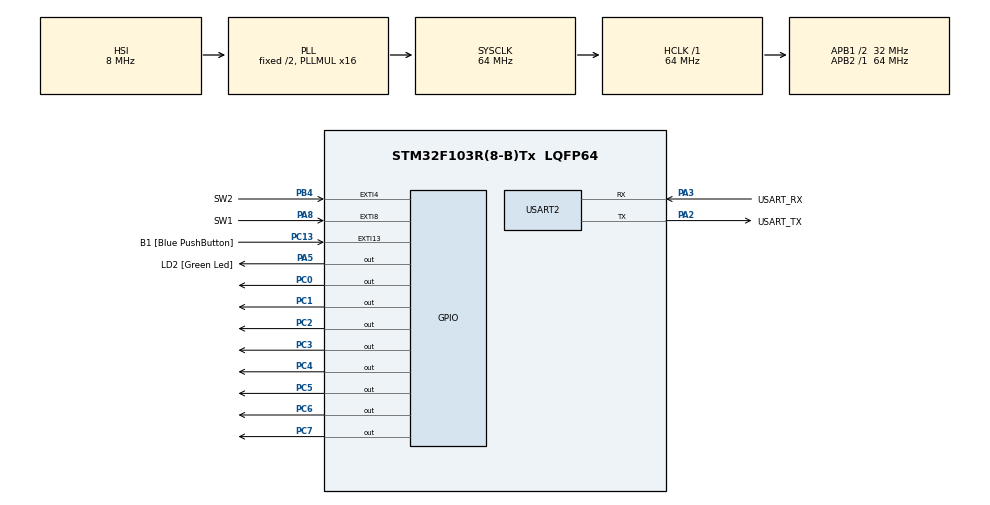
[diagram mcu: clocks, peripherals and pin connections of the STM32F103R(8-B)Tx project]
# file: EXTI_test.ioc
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Mcu.Family=STM32F1
Mcu.Name=STM32F103R(8-B)Tx
Mcu.Package=LQFP64
NVIC.EXTI15_10_IRQn=true\:0\:0\:false\:false\:true\:true\:true\:true
NVIC.EXTI4_IRQn=true\:0\:0\:false\:false\:true\:true\:true\:true
NVIC.EXTI9_5_IRQn=true\:0\:0\:false\:false\:true\:true\:true\:true
NVIC.PriorityGroup=NVIC_PRIORITYGROUP_4
PA13.GPIO_Label=TMS
PA13.Mode=Serial_Wire
PA13.Signal=SYS_JTMS-SWDIO
PA14.GPIO_Label=TCK
PA14.Mode=Serial_Wire
PA14.Signal=SYS_JTCK-SWCLK
PA2.GPIO_Label=USART_TX
PA2.GPIO_Mode=GPIO_MODE_AF_PP
PA2.GPIO_PuPd=GPIO_NOPULL
PA2.GPIO_Speed=GPIO_SPEED_FREQ_LOW
PA2.Mode=Asynchronous
PA2.Signal=USART2_TX
PA3.GPIO_Label=USART_RX
PA3.GPIO_Mode=GPIO_MODE_AF_PP
PA3.GPIO_PuPd=GPIO_NOPULL
PA3.GPIO_Speed=GPIO_SPEED_FREQ_LOW
PA3.Mode=Asynchronous
PA3.Signal=USART2_RX
PA5.GPIO_Label=LD2 [Green Led]
PA5.GPIO_ModeDefaultOutputPP=GPIO_MODE_OUTPUT_PP
PA5.GPIO_PuPd=GPIO_NOPULL
PA5.GPIO_Speed=GPIO_SPEED_FREQ_LOW
PA5.Signal=GPIO_Output
PA8.GPIO_Label=SW1
PA8.GPIO_ModeDefaultEXTI=GPIO_MODE_IT_FALLING
PA8.Signal=GPXTI8
PB3.GPIO_Label=SWO
PB3.Signal=SYS_JTDO-TRACESWO
PB4.GPIO_Label=SW2
PB4.GPIO_ModeDefaultEXTI=GPIO_MODE_IT_FALLING
PB4.Signal=GPXTI4
PC0.GPIO_Speed=GPIO_SPEED_FREQ_HIGH
PC0.Signal=GPIO_Output
PC1.GPIO_Speed=GPIO_SPEED_FREQ_HIGH
PC1.Signal=GPIO_Output
PC13-TAMPER-RTC.GPIO_Label=B1 [Blue PushButton]
PC13-TAMPER-RTC.GPIO_PuPd=GPIO_NOPULL
PC13-TAMPER-RTC.Signal=GPXTI13
PC14-OSC32_IN.Mode=LSE-External-Oscillator
PC14-OSC32_IN.Signal=RCC_OSC32_IN
PC15-OSC32_OUT.Mode=LSE-External-Oscillator
PC15-OSC32_OUT.Signal=RCC_OSC32_OUT
PC2.GPIO_Speed=GPIO_SPEED_FREQ_HIGH
PC2.Signal=GPIO_Output
PC3.GPIO_Speed=GPIO_SPEED_FREQ_HIGH
PC3.Signal=GPIO_Output
PC4.GPIO_Speed=GPIO_SPEED_FREQ_HIGH
PC4.Signal=GPIO_Output
PC5.GPIO_Speed=GPIO_SPEED_FREQ_HIGH
PC5.Signal=GPIO_Output
PC6.GPIO_Speed=GPIO_SPEED_FREQ_HIGH
PC6.Signal=GPIO_Output
PC7.GPIO_Speed=GPIO_SPEED_FREQ_HIGH
PC7.Signal=GPIO_Output
PD0-OSC_IN.Mode=HSE-External-Clock-Source
PD0-OSC_IN.Signal=RCC_OSC_IN
PD1-OSC_OUT.Mode=HSE-External-Clock-Source
PD1-OSC_OUT.Signal=RCC_OSC_OUT
ProjectManager.HeapSize=0x200
ProjectManager.StackSize=0x400
ProjectManager.TargetToolchain=STM32CubeIDE
RCC.AHBFreq_Value=64000000
RCC.APB1CLKDivider=RCC_HCLK_DIV2
RCC.APB1Freq_Value=32000000
RCC.APB1TimFreq_Value=64000000
RCC.APB2Freq_Value=64000000
RCC.APB2TimFreq_Value=64000000
RCC.HCLKFreq_Value=64000000
RCC.PLLMUL=RCC_PLL_MUL16
RCC.RTCClockSelection=RCC_RTCCLKSOURCE_LSE
RCC.SYSCLKFreq_VALUE=64000000
RCC.SYSCLKSource=RCC_SYSCLKSOURCE_PLLCLK
RCC.USBFreq_Value=64000000
USART2.VirtualMode=VM_ASYNC
board=NUCLEO-F103RB

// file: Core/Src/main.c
/* USER CODE BEGIN Header */
/**
  ******************************************************************************
  * @file           : main.c
  * @brief          : Main program body
  ******************************************************************************
  * @attention
  *
  * Copyright (c) 2022 STMicroelectronics.
  * All rights reserved.
  *
  * This software is licensed under terms that can be found in the LICENSE file
  * in the root directory of this software component.
  * If no LICENSE file comes with this software, it is provided AS-IS.
  *
  ******************************************************************************
  */
/* USER CODE END Header */
#include "main.h"

 UART_HandleTypeDef huart2;

/* USER CODE BEGIN PV */
uint16_t flag_SW1 = 0;
uint16_t flag_SW2 = 0;
uint16_t led = 1;
/* USER CODE END PV */

void SystemClock_Config(void);
static void MX_GPIO_Init(void);
static void MX_USART2_UART_Init(void);

int main(void)
{

  /* MCU Configuration--------------------------------------------------------*/

  /* Reset of all peripherals, Initializes the Flash interface and the Systick. */
  HAL_Init();

  /* Configure the system clock */
  SystemClock_Config();

  /* Initialize all configured peripherals */
  MX_GPIO_Init();
  MX_USART2_UART_Init();

  /* Infinite loop */
  while (1)
  {

    /* USER CODE BEGIN 3 */
	  if(flag_SW1){

			  GPIOC->BSRR = led;
			  HAL_Delay(100);
			  GPIOC->BRR = led;
			  HAL_Delay(100);
			  led<<=1;
			  if(led > 0x80){
				  led = 0x01;
			  }
		  }
	  if(flag_SW2){
			  GPIOC->BSRR = led;
			  HAL_Delay(100);
			  GPIOC->BRR = led;
			  HAL_Delay(100);
			  led>>=1;
		  	  if(led < 0x01){
		  		 led = 0x80;
				}
		  }
  }
  /* USER CODE END 3 */
}

void SystemClock_Config(void)
{
  RCC_OscInitTypeDef RCC_OscInitStruct = {0};
  RCC_ClkInitTypeDef RCC_ClkInitStruct = {0};

  /** Initializes the RCC Oscillators according to the specified parameters
  * in the RCC_OscInitTypeDef structure.
  */
  RCC_OscInitStruct.OscillatorType = RCC_OSCILLATORTYPE_HSI;
  RCC_OscInitStruct.HSIState = RCC_HSI_ON;
  RCC_OscInitStruct.HSICalibrationValue = RCC_HSICALIBRATION_DEFAULT;
  RCC_OscInitStruct.PLL.PLLState = RCC_PLL_ON;
  RCC_OscInitStruct.PLL.PLLSource = RCC_PLLSOURCE_HSI_DIV2;
  RCC_OscInitStruct.PLL.PLLMUL = RCC_PLL_MUL16;
  if (HAL_RCC_OscConfig(&RCC_OscInitStruct) != HAL_OK)
  {
    Error_Handler();
  }

  /** Initializes the CPU, AHB and APB buses clocks
  */
  RCC_ClkInitStruct.ClockType = RCC_CLOCKTYPE_HCLK|RCC_CLOCKTYPE_SYSCLK
                              |RCC_CLOCKTYPE_PCLK1|RCC_CLOCKTYPE_PCLK2;
  RCC_ClkInitStruct.SYSCLKSource = RCC_SYSCLKSOURCE_PLLCLK;
  RCC_ClkInitStruct.AHBCLKDivider = RCC_SYSCLK_DIV1;
  RCC_ClkInitStruct.APB1CLKDivider = RCC_HCLK_DIV2;
  RCC_ClkInitStruct.APB2CLKDivider = RCC_HCLK_DIV1;

  if (HAL_RCC_ClockConfig(&RCC_ClkInitStruct, FLASH_LATENCY_2) != HAL_OK)
  {
    Error_Handler();
  }
}

static void MX_USART2_UART_Init(void)
{

  huart2.Instance = USART2;
  huart2.Init.BaudRate = 115200;
  huart2.Init.WordLength = UART_WORDLENGTH_8B;
  huart2.Init.StopBits = UART_STOPBITS_1;
  huart2.Init.Parity = UART_PARITY_NONE;
  huart2.Init.Mode = UART_MODE_TX_RX;
  huart2.Init.HwFlowCtl = UART_HWCONTROL_NONE;
  huart2.Init.OverSampling = UART_OVERSAMPLING_16;
  if (HAL_UART_Init(&huart2) != HAL_OK)
  {
    Error_Handler();
  }

}

static void MX_GPIO_Init(void)
{
  GPIO_InitTypeDef GPIO_InitStruct = {0};

  /* GPIO Ports Clock Enable */
  __HAL_RCC_GPIOC_CLK_ENABLE();
  __HAL_RCC_GPIOD_CLK_ENABLE();
  __HAL_RCC_GPIOA_CLK_ENABLE();
  __HAL_RCC_GPIOB_CLK_ENABLE();

  /*Configure GPIO pin Output Level */
  HAL_GPIO_WritePin(GPIOC, GPIO_PIN_0|GPIO_PIN_1|GPIO_PIN_2|GPIO_PIN_3
                          |GPIO_PIN_4|GPIO_PIN_5|GPIO_PIN_6|GPIO_PIN_7, GPIO_PIN_RESET);

  /*Configure GPIO pin Output Level */
  HAL_GPIO_WritePin(LD2_GPIO_Port, LD2_Pin, GPIO_PIN_RESET);

  /*Configure GPIO pin : B1_Pin */
  GPIO_InitStruct.Pin = B1_Pin;
  GPIO_InitStruct.Mode = GPIO_MODE_IT_RISING;
  GPIO_InitStruct.Pull = GPIO_NOPULL;
  HAL_GPIO_Init(B1_GPIO_Port, &GPIO_InitStruct);

  /*Configure GPIO pins : PC0 PC1 PC2 PC3
                           PC4 PC5 PC6 PC7 */
  GPIO_InitStruct.Pin = GPIO_PIN_0|GPIO_PIN_1|GPIO_PIN_2|GPIO_PIN_3
                          |GPIO_PIN_4|GPIO_PIN_5|GPIO_PIN_6|GPIO_PIN_7;
  GPIO_InitStruct.Mode = GPIO_MODE_OUTPUT_PP;
  GPIO_InitStruct.Pull = GPIO_NOPULL;
  GPIO_InitStruct.Speed = GPIO_SPEED_FREQ_HIGH;
  HAL_GPIO_Init(GPIOC, &GPIO_InitStruct);

  /*Configure GPIO pin : LD2_Pin */
  GPIO_InitStruct.Pin = LD2_Pin;
  GPIO_InitStruct.Mode = GPIO_MODE_OUTPUT_PP;
  GPIO_InitStruct.Pull = GPIO_NOPULL;
  GPIO_InitStruct.Speed = GPIO_SPEED_FREQ_LOW;
  HAL_GPIO_Init(LD2_GPIO_Port, &GPIO_InitStruct);

  /*Configure GPIO pin : SW1_Pin */
  GPIO_InitStruct.Pin = SW1_Pin;
  GPIO_InitStruct.Mode = GPIO_MODE_IT_FALLING;
  GPIO_InitStruct.Pull = GPIO_NOPULL;
  HAL_GPIO_Init(SW1_GPIO_Port, &GPIO_InitStruct);

  /*Configure GPIO pin : SW2_Pin */
  GPIO_InitStruct.Pin = SW2_Pin;
  GPIO_InitStruct.Mode = GPIO_MODE_IT_FALLING;
  GPIO_InitStruct.Pull = GPIO_NOPULL;
  HAL_GPIO_Init(SW2_GPIO_Port, &GPIO_InitStruct);

  /* EXTI interrupt init*/
  HAL_NVIC_SetPriority(EXTI4_IRQn, 0, 0);
  HAL_NVIC_EnableIRQ(EXTI4_IRQn);

  HAL_NVIC_SetPriority(EXTI9_5_IRQn, 0, 0);
  HAL_NVIC_EnableIRQ(EXTI9_5_IRQn);

  HAL_NVIC_SetPriority(EXTI15_10_IRQn, 0, 0);
  HAL_NVIC_EnableIRQ(EXTI15_10_IRQn);

}

/* USER CODE BEGIN 4 */
void HAL_GPIO_EXTI_Callback(uint16_t GPIO_Pin){
	if(GPIO_Pin == SW1_Pin){
		flag_SW1 = 1;
		flag_SW2 = 0;
	}
	if(GPIO_Pin == SW2_Pin){
		flag_SW1 = 0;
		flag_SW2 = 1;
	}
}
/* USER CODE END 4 */

void Error_Handler(void)
{
  __disable_irq();
  while (1)
  {
  }
}
